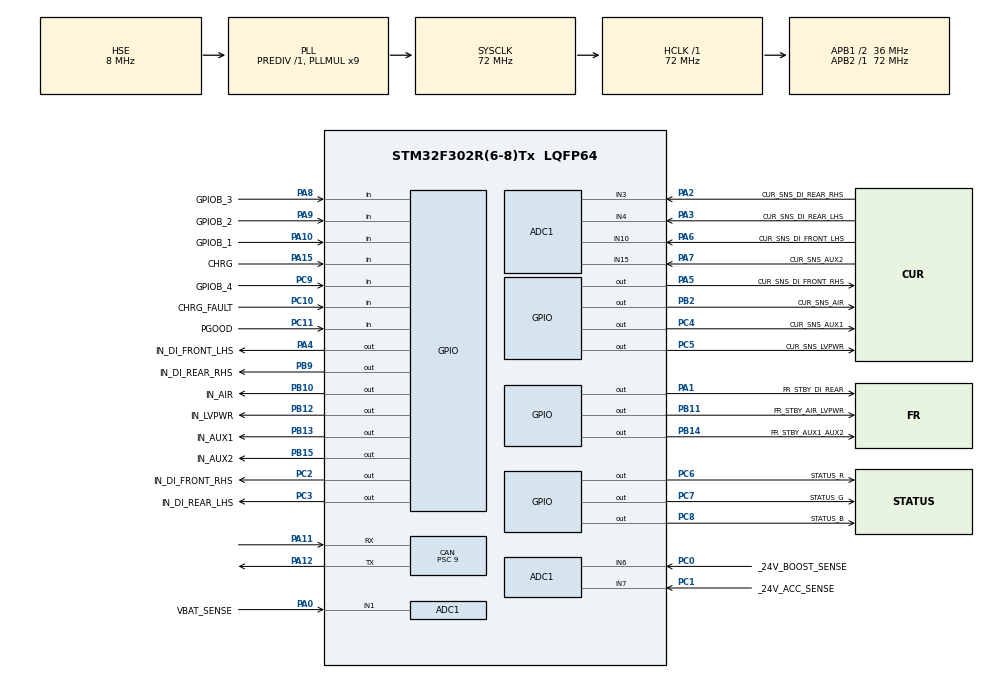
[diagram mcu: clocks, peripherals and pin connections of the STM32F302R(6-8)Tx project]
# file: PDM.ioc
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ADC1.Channel-0\#ChannelRegularConversion=ADC_CHANNEL_3
ADC1.NbrOfConversionFlag=1
ADC1.Offset-0\#ChannelRegularConversion=0
ADC1.OffsetNumber-0\#ChannelRegularConversion=ADC_OFFSET_NONE
ADC1.Rank-0\#ChannelRegularConversion=1
ADC1.SamplingTime-0\#ChannelRegularConversion=ADC_SAMPLETIME_1CYCLE_5
ADC1.SubFamily=STM32F302x8
ADC1.master=1
CAN.ABOM=ENABLE
CAN.BS1=CAN_BS1_6TQ
CAN.CalculateTimeQuantum=250.0
CAN.NART=ENABLE
CAN.Prescaler=9
CAN.RFLM=ENABLE
CAN.SJW=CAN_SJW_4TQ
CAN.TXFP=ENABLE
FREERTOS.INCLUDE_eTaskGetState=0
FREERTOS.INCLUDE_pcTaskGetTaskName=0
FREERTOS.INCLUDE_uxTaskGetStackHighWaterMark=1
FREERTOS.INCLUDE_uxTaskPriorityGet=1
FREERTOS.INCLUDE_vTaskCleanUpResources=0
FREERTOS.INCLUDE_vTaskDelay=1
FREERTOS.INCLUDE_vTaskDelayUntil=1
FREERTOS.INCLUDE_vTaskDelete=1
FREERTOS.INCLUDE_vTaskPrioritySet=1
FREERTOS.INCLUDE_vTaskSuspend=1
FREERTOS.INCLUDE_xEventGroupSetBitFromISR=0
FREERTOS.INCLUDE_xQueueGetMutexHolder=0
FREERTOS.INCLUDE_xSemaphoreGetMutexHolder=0
FREERTOS.INCLUDE_xTaskAbortDelay=0
FREERTOS.INCLUDE_xTaskGetCurrentTaskHandle=0
FREERTOS.INCLUDE_xTaskGetHandle=0
FREERTOS.INCLUDE_xTaskResumeFromISR=1
FREERTOS.MEMORY_ALLOCATION=1
FREERTOS.Tasks01=TaskCanTx,-3,128,RunTaskCanTx,Default,NULL,Static,TaskCanTxBuffer,TaskCanTxControlBlock
FREERTOS.configCHECK_FOR_STACK_OVERFLOW=2
FREERTOS.configENABLE_BACKWARD_COMPATIBILITY=1
FREERTOS.configGENERATE_RUN_TIME_STATS=0
FREERTOS.configIDLE_SHOULD_YIELD=1
FREERTOS.configLIBRARY_LOWEST_INTERRUPT_PRIORITY=15
FREERTOS.configLIBRARY_MAX_SYSCALL_INTERRUPT_PRIORITY=5
FREERTOS.configMAX_CO_ROUTINE_PRIORITIES=2
FREERTOS.configMAX_PRIORITIES=7
FREERTOS.configMAX_TASK_NAME_LEN=16
FREERTOS.configMINIMAL_STACK_SIZE=128
FREERTOS.configQUEUE_REGISTRY_SIZE=8
FREERTOS.configTICK_RATE_HZ=1000
FREERTOS.configUSE_APPLICATION_TASK_TAG=0
FREERTOS.configUSE_COUNTING_SEMAPHORES=0
FREERTOS.configUSE_CO_ROUTINES=0
FREERTOS.configUSE_DAEMON_TASK_STARTUP_HOOK=0
FREERTOS.configUSE_IDLE_HOOK=0
FREERTOS.configUSE_MALLOC_FAILED_HOOK=0
FREERTOS.configUSE_MUTEXES=1
FREERTOS.configUSE_PREEMPTION=1
FREERTOS.configUSE_RECURSIVE_MUTEXES=0
FREERTOS.configUSE_STATS_FORMATTING_FUNCTIONS=0
FREERTOS.configUSE_TASK_NOTIFICATIONS=1
FREERTOS.configUSE_TICKLESS_IDLE=0
FREERTOS.configUSE_TICK_HOOK=1
FREERTOS.configUSE_TIMERS=0
FREERTOS.configUSE_TRACE_FACILITY=1
IWDG.Prescaler=IWDG_PRESCALER_4
IWDG.Reload=LSI_FREQUENCY / IWDG_PRESCALER / IWDG_RESET_FREQUENCY
IWDG.Window=IWDG_WINDOW_DISABLE_VALUE
Mcu.Family=STM32F3
Mcu.Name=STM32F302R(6-8)Tx
Mcu.Package=LQFP64
Mcu.UserConstants=IWDG_WINDOW_DISABLE_VALUE,4095;LSI_FREQUENCY,40000;IWDG_PRESCALER,4;IWDG_RESET_FREQUENCY,5;TASK1HZ_STACK_SIZE,512;TASK100HZ_STACK_SIZE,512;TASK1KHZ_STACK_SIZE,512;TASKCANRX_STACK_SIZE,512;TASKCANTX_STACK_SIZE,512
NVIC.CAN_RX1_IRQn=true\:5\:0\:false\:false\:true\:true\:true\:true
NVIC.PriorityGroup=NVIC_PRIORITYGROUP_4
NVIC.TIM1_UP_TIM16_IRQn=true\:0\:0\:false\:false\:true\:false\:false\:true
NVIC.TimeBase=TIM1_UP_TIM16_IRQn
NVIC.TimeBaseIP=TIM1
NVIC.USB_HP_CAN_TX_IRQn=true\:5\:0\:false\:false\:true\:true\:true\:true
NVIC.USB_LP_CAN_RX0_IRQn=true\:5\:0\:false\:false\:true\:true\:true\:true
PA0.GPIO_Label=VBAT_SENSE
PA0.Mode=IN1-Single-Ended
PA0.Signal=ADC1_IN1
PA1.GPIO_Label=FR_STBY_DI_REAR
PA1.Signal=GPIO_Output
PA10.GPIO_Label=GPIOB_1
PA10.Signal=GPIO_Input
PA11.Mode=Master
PA11.Signal=CAN_RX
PA12.Mode=Master
PA12.Signal=CAN_TX
PA13.Mode=Trace_Asynchronous_SW
PA13.Signal=SYS_JTMS-SWDIO
PA14.Mode=Trace_Asynchronous_SW
PA14.Signal=SYS_JTCK-SWCLK
PA15.GPIO_Label=CHRG
PA15.Signal=GPIO_Input
PA2.GPIO_Label=CUR_SNS_DI_REAR_RHS
PA2.Mode=IN3-Single-Ended
PA2.Signal=ADC1_IN3
PA3.GPIO_Label=CUR_SNS_DI_REAR_LHS
PA3.Mode=IN4-Single-Ended
PA3.Signal=ADC1_IN4
PA4.GPIO_Label=IN_DI_FRONT_LHS
PA4.Signal=GPIO_Output
PA5.GPIO_Label=CUR_SNS_DI_FRONT_RHS
PA5.Signal=GPIO_Output
PA6.GPIO_Label=CUR_SNS_DI_FRONT_LHS
PA6.Signal=ADCx_IN10
PA7.GPIO_Label=CUR_SNS_AUX2
PA7.Mode=IN15-Single-Ended
PA7.Signal=ADC1_IN15
PA8.GPIO_Label=GPIOB_3
PA8.Signal=GPIO_Input
PA9.GPIO_Label=GPIOB_2
PA9.Signal=GPIO_Input
PB10.GPIO_Label=IN_AIR
PB10.Signal=GPIO_Output
PB11.GPIO_Label=FR_STBY_AIR_LVPWR
PB11.Signal=GPIO_Output
PB12.GPIO_Label=IN_LVPWR
PB12.Signal=GPIO_Output
PB13.GPIO_Label=IN_AUX1
PB13.Signal=GPIO_Output
PB14.GPIO_Label=FR_STBY_AUX1_AUX2
PB14.Signal=GPIO_Output
PB15.GPIO_Label=IN_AUX2
PB15.Signal=GPIO_Output
PB2.GPIO_Label=CUR_SNS_AIR
PB2.Signal=GPIO_Output
PB3.Mode=Trace_Asynchronous_SW
PB3.Signal=SYS_JTDO-TRACESWO
PB9.GPIO_Label=IN_DI_REAR_RHS
PB9.Signal=GPIO_Output
PC0.GPIO_Label=_24V_BOOST_SENSE
PC0.Signal=ADCx_IN6
PC1.GPIO_Label=_24V_ACC_SENSE
PC1.Signal=ADCx_IN7
PC10.GPIO_Label=CHRG_FAULT
PC10.Signal=GPIO_Input
PC11.GPIO_Label=PGOOD
PC11.Signal=GPIO_Input
PC2.GPIO_Label=IN_DI_FRONT_RHS
PC2.Signal=GPIO_Output
PC3.GPIO_Label=IN_DI_REAR_LHS
PC3.Signal=GPIO_Output
PC4.GPIO_Label=CUR_SNS_AUX1
PC4.Signal=GPIO_Output
PC5.GPIO_Label=CUR_SNS_LVPWR
PC5.Signal=GPIO_Output
PC6.GPIO_Label=STATUS_R
PC6.Signal=GPIO_Output
PC7.GPIO_Label=STATUS_G
PC7.Signal=GPIO_Output
PC8.GPIO_Label=STATUS_B
PC8.Signal=GPIO_Output
PC9.GPIO_Label=GPIOB_4
PC9.Signal=GPIO_Input
PF0-OSC_IN.Mode=HSE-External-Oscillator
PF0-OSC_IN.Signal=RCC_OSC_IN
PF1-OSC_OUT.Mode=HSE-External-Oscillator
PF1-OSC_OUT.Signal=RCC_OSC_OUT
ProjectManager.HeapSize=0x200
ProjectManager.StackSize=0x400
ProjectManager.TargetToolchain=SW4STM32
RCC.AHBFreq_Value=72000000
RCC.APB1CLKDivider=RCC_HCLK_DIV2
RCC.APB1Freq_Value=36000000
RCC.APB1TimFreq_Value=72000000
RCC.APB2Freq_Value=72000000
RCC.APB2TimFreq_Value=72000000
RCC.CortexFreq_Value=72000000
RCC.FLatency=FLASH_LATENCY_2
RCC.HCLKFreq_Value=72000000
RCC.HSE_VALUE=8000000
RCC.HSI_VALUE=8000000
RCC.LSE_VALUE=32768
RCC.PLLMUL=RCC_PLL_MUL9
RCC.PLLSourceVirtual=RCC_PLLSOURCE_HSE
RCC.SYSCLKFreq_VALUE=72000000
RCC.SYSCLKSourceVirtual=RCC_SYSCLKSOURCE_PLLCLK
RCC.USBFreq_Value=72000000
SH.ADCx_IN10.0=ADC1_IN10,IN10-Single-Ended
SH.ADCx_IN6.0=ADC1_IN6,IN6-Single-Ended
SH.ADCx_IN7.0=ADC1_IN7,IN7-Single-Ended
VP_FREERTOS_VS_CMSIS_V1.Mode=CMSIS_V1
VP_IWDG_VS_IWDG.Mode=IWDG_Activate
VP_SYS_VS_tim1.Mode=TIM1
board=custom

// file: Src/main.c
/* USER CODE BEGIN Header */
/**
 ******************************************************************************
 * @file           : main.c
 * @brief          : Main program body
 ******************************************************************************
 * @attention
 *
 * <h2><center>&copy; Copyright (c) 2020 STMicroelectronics.
 * All rights reserved.</center></h2>
 *
 * This software component is licensed by ST under Ultimate Liberty license
 * SLA0044, the "License"; You may not use this file except in compliance with
 * the License. You may obtain a copy of the License at:
 *                             www.st.com/SLA0044
 *
 ******************************************************************************
 */
/* USER CODE END Header */

#include "main.h"
#include "cmsis_os.h"

/* USER CODE BEGIN Includes */
#include <assert.h>

#include "Io_CanTx.h"
#include "Io_CanRx.h"
#include "Io_SharedSoftwareWatchdog.h"
#include "Io_SharedCan.h"
#include "Io_SharedHardFaultHandler.h"
#include "Io_StackWaterMark.h"
#include "Io_SoftwareWatchdog.h"
#include "Io_VoltageSense.h"
#include "Io_CurrentSense.h"
#include "Io_HeartbeatMonitor.h"
#include "Io_RgbLedSequence.h"
#include "Io_LT3650.h"
#include "Io_LTC3786.h"

#include "App_PdmWorld.h"
#include "App_SharedConstants.h"
#include "App_SharedStateMachine.h"
#include "configs/App_CurrentLimits.h"
#include "configs/App_VoltageLimits.h"
#include "configs/App_HeartbeatMonitorConfig.h"
/* USER CODE END Includes */

ADC_HandleTypeDef hadc1;

CAN_HandleTypeDef hcan;

IWDG_HandleTypeDef hiwdg;

osThreadId          TaskCanTxHandle;
uint32_t            TaskCanTxBuffer[128];
osStaticThreadDef_t TaskCanTxControlBlock;
/* USER CODE BEGIN PV */
struct PdmCanTxInterface *can_tx;
struct InRangeCheck *     vbat_voltage_in_range_check;
struct InRangeCheck *     _24v_aux_voltage_in_range_check;
struct InRangeCheck *     _24v_acc_voltage_in_range_check;
struct InRangeCheck *     aux1_current_in_range_check;
struct InRangeCheck *     aux2_current_in_range_check;
struct InRangeCheck *     left_inverter_current_in_range_check;
struct InRangeCheck *     right_inverter_current_in_range_check;
struct InRangeCheck *     energy_meter_current_in_range_check;
struct InRangeCheck *     can_current_in_range_check;
struct InRangeCheck *     air_shutdown_current_in_range_check;
struct HeartbeatMonitor * heartbeat_monitor;
struct RgbLedSequence *   rgb_led_sequence;
struct LowVoltageBattery *low_voltage_battery;
struct Clock *            clock;
/* USER CODE END PV */

void        SystemClock_Config(void);
static void MX_GPIO_Init(void);
static void MX_ADC1_Init(void);
static void MX_CAN_Init(void);
static void MX_IWDG_Init(void);
void        RunTaskCanTx(void const *argument);

/* USER CODE BEGIN PFP */

static void CanRxQueueOverflowCallBack(size_t overflow_count);
static void CanTxQueueOverflowCallBack(size_t overflow_count);

/* USER CODE END PFP */

/* USER CODE BEGIN 0 */

static void CanRxQueueOverflowCallBack(size_t overflow_count)
{
    App_CanTx_SetPeriodicSignal_RX_OVERFLOW_COUNT(can_tx, overflow_count);
}

static void CanTxQueueOverflowCallBack(size_t overflow_count)
{
    App_CanTx_SetPeriodicSignal_TX_OVERFLOW_COUNT(can_tx, overflow_count);
}

/* USER CODE END 0 */

int main(void)
{

    /* MCU
     * Configuration--------------------------------------------------------*/

    /* Reset of all peripherals, Initializes the Flash interface and the
     * Systick. */
    HAL_Init();

    /* Configure the system clock */
    SystemClock_Config();

    /* Initialize all configured peripherals */
    MX_GPIO_Init();
    MX_ADC1_Init();
    MX_CAN_Init();
    MX_IWDG_Init();
    /* USER CODE BEGIN 2 */
    __HAL_DBGMCU_FREEZE_IWDG();
    Io_SharedHardFaultHandler_Init();

    can_tx = App_CanTx_Create(
        Io_CanTx_EnqueueNonPeriodicMsg_PDM_STARTUP,
        Io_CanTx_EnqueueNonPeriodicMsg_PDM_WATCHDOG_TIMEOUT);

    vbat_voltage_in_range_check = App_InRangeCheck_Create(
        Io_VoltageSense_GetVbatVoltage, VBAT_MIN_VOLTAGE, VBAT_MAX_VOLTAGE);

    _24v_aux_voltage_in_range_check = App_InRangeCheck_Create(
        Io_VoltageSense_Get24vAuxVoltage, _24V_AUX_MIN_VOLTAGE,
        _24V_AUX_MAX_VOLTAGE);

    _24v_acc_voltage_in_range_check = App_InRangeCheck_Create(
        Io_VoltageSense_Get24vAccVoltage, _24V_ACC_MIN_VOLTAGE,
        _24V_ACC_MAX_VOLTAGE);

    aux1_current_in_range_check = App_InRangeCheck_Create(
        Io_CurrentSense_GetAux1Current, AUX1_MIN_CURRENT, AUX1_MAX_CURRENT);

    aux2_current_in_range_check = App_InRangeCheck_Create(
        Io_CurrentSense_GetAux1Current, AUX2_MIN_CURRENT, AUX2_MAX_CURRENT);

    left_inverter_current_in_range_check = App_InRangeCheck_Create(
        Io_CurrentSense_GetLeftInverterCurrent, LEFT_INVERTER_MIN_CURRENT,
        LEFT_INVERTER_MAX_CURRENT);

    right_inverter_current_in_range_check = App_InRangeCheck_Create(
        Io_CurrentSense_GetRightInverterCurrent, RIGHT_INVERTER_MIN_CURRENT,
        RIGHT_INVERTER_MAX_CURRENT);

    energy_meter_current_in_range_check = App_InRangeCheck_Create(
        Io_CurrentSense_GetEnergyMeterCurrent, ENERGY_METER_MIN_CURRENT,
        ENERGY_METER_MAX_CURRENT);

    can_current_in_range_check = App_InRangeCheck_Create(
        Io_CurrentSense_GetCanCurrent, CAN_MIN_CURRENT, CAN_MAX_CURRENT);

    air_shutdown_current_in_range_check = App_InRangeCheck_Create(
        Io_CurrentSense_GetAirShutdownCurrent, AIR_SHUTDOWN_MIN_CURRENT,
        AIR_SHUTDOWN_MAX_CURRENT);

    heartbeat_monitor = App_SharedHeartbeatMonitor_Create(
        Io_HeartbeatMonitor_GetCurrentMs, HEARTBEAT_MONITOR_TIMEOUT_PERIOD_MS,
        HEARTBEAT_MONITOR_BOARDS_TO_CHECK, Io_HeartbeatMonitor_TimeoutCallback);

    rgb_led_sequence = App_SharedRgbLedSequence_Create(
        Io_RgbLedSequence_TurnOnRedLed, Io_RgbLedSequence_TurnOnBlueLed,
        Io_RgbLedSequence_TurnOnGreenLed);

    low_voltage_battery =
        App_LowVoltageBattery_Create(Io_LT3650_HasFault, Io_LTC3786_HasFault);

    clock = App_SharedClock_Create();

    Io_SoftwareWatchdog_Init(can_tx);
    Io_StackWaterMark_Init(can_tx);

    struct CanMsgs_pdm_startup_t payload = { .dummy = 0 };
    App_CanTx_SendNonPeriodicMsg_PDM_STARTUP(can_tx, &payload);
    /* USER CODE END 2 */

    /* Create the thread(s) */
    /* definition and creation of TaskCanTx */
    osThreadStaticDef(
        TaskCanTx, RunTaskCanTx, osPriorityIdle, 0, 128, TaskCanTxBuffer,
        &TaskCanTxControlBlock);
    TaskCanTxHandle = osThreadCreate(osThread(TaskCanTx), NULL);

    /* USER CODE BEGIN RTOS_THREADS */
    /* add threads, ... */
    // According to Percpio documentation, vTraceEnable() should be the last
    // function call before the scheduler starts.
#if (configUSE_TRACE_FACILITY == 1)
    vTraceEnable(TRC_INIT);
#endif
    /* USER CODE END RTOS_THREADS */

    /* Start scheduler */
    osKernelStart();

    /* We should never get here as control is now taken by the scheduler */

    /* Infinite loop */
    while (1)
    {

    }
}

void SystemClock_Config(void)
{
    RCC_OscInitTypeDef       RCC_OscInitStruct = { 0 };
    RCC_ClkInitTypeDef       RCC_ClkInitStruct = { 0 };
    RCC_PeriphCLKInitTypeDef PeriphClkInit     = { 0 };

    /** Initializes the CPU, AHB and APB busses clocks
     */
    RCC_OscInitStruct.OscillatorType =
        RCC_OSCILLATORTYPE_LSI | RCC_OSCILLATORTYPE_HSE;
    RCC_OscInitStruct.HSEState       = RCC_HSE_ON;
    RCC_OscInitStruct.HSEPredivValue = RCC_HSE_PREDIV_DIV1;
    RCC_OscInitStruct.HSIState       = RCC_HSI_ON;
    RCC_OscInitStruct.LSIState       = RCC_LSI_ON;
    RCC_OscInitStruct.PLL.PLLState   = RCC_PLL_ON;
    RCC_OscInitStruct.PLL.PLLSource  = RCC_PLLSOURCE_HSE;
    RCC_OscInitStruct.PLL.PLLMUL     = RCC_PLL_MUL9;
    if (HAL_RCC_OscConfig(&RCC_OscInitStruct) != HAL_OK)
    {
        Error_Handler();
    }
    /** Initializes the CPU, AHB and APB busses clocks
     */
    RCC_ClkInitStruct.ClockType = RCC_CLOCKTYPE_HCLK | RCC_CLOCKTYPE_SYSCLK |
                                  RCC_CLOCKTYPE_PCLK1 | RCC_CLOCKTYPE_PCLK2;
    RCC_ClkInitStruct.SYSCLKSource   = RCC_SYSCLKSOURCE_PLLCLK;
    RCC_ClkInitStruct.AHBCLKDivider  = RCC_SYSCLK_DIV1;
    RCC_ClkInitStruct.APB1CLKDivider = RCC_HCLK_DIV2;
    RCC_ClkInitStruct.APB2CLKDivider = RCC_HCLK_DIV1;

    if (HAL_RCC_ClockConfig(&RCC_ClkInitStruct, FLASH_LATENCY_2) != HAL_OK)
    {
        Error_Handler();
    }
    PeriphClkInit.PeriphClockSelection = RCC_PERIPHCLK_ADC1;
    PeriphClkInit.Adc1ClockSelection   = RCC_ADC1PLLCLK_DIV1;

    if (HAL_RCCEx_PeriphCLKConfig(&PeriphClkInit) != HAL_OK)
    {
        Error_Handler();
    }
}

static void MX_ADC1_Init(void)
{

    ADC_ChannelConfTypeDef sConfig = { 0 };

    /** Common config
     */
    hadc1.Instance                   = ADC1;
    hadc1.Init.ClockPrescaler        = ADC_CLOCK_ASYNC_DIV1;
    hadc1.Init.Resolution            = ADC_RESOLUTION_12B;
    hadc1.Init.ScanConvMode          = ADC_SCAN_DISABLE;
    hadc1.Init.ContinuousConvMode    = DISABLE;
    hadc1.Init.DiscontinuousConvMode = DISABLE;
    hadc1.Init.ExternalTrigConvEdge  = ADC_EXTERNALTRIGCONVEDGE_NONE;
    hadc1.Init.ExternalTrigConv      = ADC_SOFTWARE_START;
    hadc1.Init.DataAlign             = ADC_DATAALIGN_RIGHT;
    hadc1.Init.NbrOfConversion       = 1;
    hadc1.Init.DMAContinuousRequests = DISABLE;
    hadc1.Init.EOCSelection          = ADC_EOC_SINGLE_CONV;
    hadc1.Init.LowPowerAutoWait      = DISABLE;
    hadc1.Init.Overrun               = ADC_OVR_DATA_OVERWRITTEN;
    if (HAL_ADC_Init(&hadc1) != HAL_OK)
    {
        Error_Handler();
    }
    /** Configure Regular Channel
     */
    sConfig.Channel      = ADC_CHANNEL_3;
    sConfig.Rank         = ADC_REGULAR_RANK_1;
    sConfig.SingleDiff   = ADC_SINGLE_ENDED;
    sConfig.SamplingTime = ADC_SAMPLETIME_1CYCLE_5;
    sConfig.OffsetNumber = ADC_OFFSET_NONE;
    sConfig.Offset       = 0;
    if (HAL_ADC_ConfigChannel(&hadc1, &sConfig) != HAL_OK)
    {
        Error_Handler();
    }
}

static void MX_CAN_Init(void)
{

    hcan.Instance                  = CAN;
    hcan.Init.Prescaler            = 9;
    hcan.Init.Mode                 = CAN_MODE_NORMAL;
    hcan.Init.SyncJumpWidth        = CAN_SJW_4TQ;
    hcan.Init.TimeSeg1             = CAN_BS1_6TQ;
    hcan.Init.TimeSeg2             = CAN_BS2_1TQ;
    hcan.Init.TimeTriggeredMode    = DISABLE;
    hcan.Init.AutoBusOff           = ENABLE;
    hcan.Init.AutoWakeUp           = DISABLE;
    hcan.Init.AutoRetransmission   = ENABLE;
    hcan.Init.ReceiveFifoLocked    = ENABLE;
    hcan.Init.TransmitFifoPriority = ENABLE;
    if (HAL_CAN_Init(&hcan) != HAL_OK)
    {
        Error_Handler();
    }
    /* USER CODE BEGIN CAN_Init 2 */
    Io_SharedCan_Init(
        &hcan, CanTxQueueOverflowCallBack, CanRxQueueOverflowCallBack);
    /* USER CODE END CAN_Init 2 */
}

static void MX_IWDG_Init(void)
{

    hiwdg.Instance       = IWDG;
    hiwdg.Init.Prescaler = IWDG_PRESCALER_4;
    hiwdg.Init.Window    = IWDG_WINDOW_DISABLE_VALUE;
    hiwdg.Init.Reload = LSI_FREQUENCY / IWDG_PRESCALER / IWDG_RESET_FREQUENCY;
    if (HAL_IWDG_Init(&hiwdg) != HAL_OK)
    {
        Error_Handler();
    }
    /* USER CODE BEGIN IWDG_Init 2 */
    Io_SharedSoftwareWatchdog_Init(
        Io_HardwareWatchdog_Refresh, Io_SoftwareWatchdog_TimeoutCallback);
    /* USER CODE END IWDG_Init 2 */
}

static void MX_GPIO_Init(void)
{
    GPIO_InitTypeDef GPIO_InitStruct = { 0 };

    /* GPIO Ports Clock Enable */
    __HAL_RCC_GPIOC_CLK_ENABLE();
    __HAL_RCC_GPIOF_CLK_ENABLE();
    __HAL_RCC_GPIOA_CLK_ENABLE();
    __HAL_RCC_GPIOB_CLK_ENABLE();
    __HAL_RCC_GPIOD_CLK_ENABLE();

    /*Configure GPIO pin Output Level */
    HAL_GPIO_WritePin(
        GPIOC,
        IN_DI_FRONT_RHS_Pin | IN_DI_REAR_LHS_Pin | CUR_SNS_AUX1_Pin |
            CUR_SNS_LVPWR_Pin | STATUS_R_Pin | STATUS_G_Pin | STATUS_B_Pin,
        GPIO_PIN_RESET);

    /*Configure GPIO pin Output Level */
    HAL_GPIO_WritePin(
        GPIOA,
        FR_STBY_DI_REAR_Pin | IN_DI_FRONT_LHS_Pin | CUR_SNS_DI_FRONT_RHS_Pin,
        GPIO_PIN_RESET);

    /*Configure GPIO pin Output Level */
    HAL_GPIO_WritePin(
        GPIOB,
        CUR_SNS_AIR_Pin | IN_AIR_Pin | FR_STBY_AIR_LVPWR_Pin | IN_LVPWR_Pin |
            IN_AUX1_Pin | FR_STBY_AUX1_AUX2_Pin | IN_AUX2_Pin |
            IN_DI_REAR_RHS_Pin,
        GPIO_PIN_RESET);

    /*Configure GPIO pins : PC13 PC14 PC15 PC12 */
    GPIO_InitStruct.Pin = GPIO_PIN_13 | GPIO_PIN_14 | GPIO_PIN_15 | GPIO_PIN_12;
    GPIO_InitStruct.Mode = GPIO_MODE_ANALOG;
    GPIO_InitStruct.Pull = GPIO_NOPULL;
    HAL_GPIO_Init(GPIOC, &GPIO_InitStruct);

    /*Configure GPIO pins : IN_DI_FRONT_RHS_Pin IN_DI_REAR_LHS_Pin
       CUR_SNS_AUX1_Pin CUR_SNS_LVPWR_Pin
                             STATUS_R_Pin STATUS_G_Pin STATUS_B_Pin */
    GPIO_InitStruct.Pin = IN_DI_FRONT_RHS_Pin | IN_DI_REAR_LHS_Pin |
                          CUR_SNS_AUX1_Pin | CUR_SNS_LVPWR_Pin | STATUS_R_Pin |
                          STATUS_G_Pin | STATUS_B_Pin;
    GPIO_InitStruct.Mode  = GPIO_MODE_OUTPUT_PP;
    GPIO_InitStruct.Pull  = GPIO_NOPULL;
    GPIO_InitStruct.Speed = GPIO_SPEED_FREQ_LOW;
    HAL_GPIO_Init(GPIOC, &GPIO_InitStruct);

    /*Configure GPIO pins : FR_STBY_DI_REAR_Pin IN_DI_FRONT_LHS_Pin
     * CUR_SNS_DI_FRONT_RHS_Pin */
    GPIO_InitStruct.Pin =
        FR_STBY_DI_REAR_Pin | IN_DI_FRONT_LHS_Pin | CUR_SNS_DI_FRONT_RHS_Pin;
    GPIO_InitStruct.Mode  = GPIO_MODE_OUTPUT_PP;
    GPIO_InitStruct.Pull  = GPIO_NOPULL;
    GPIO_InitStruct.Speed = GPIO_SPEED_FREQ_LOW;
    HAL_GPIO_Init(GPIOA, &GPIO_InitStruct);

    /*Configure GPIO pins : PB0 PB1 PB4 PB5
                             PB6 PB7 PB8 */
    GPIO_InitStruct.Pin = GPIO_PIN_0 | GPIO_PIN_1 | GPIO_PIN_4 | GPIO_PIN_5 |
                          GPIO_PIN_6 | GPIO_PIN_7 | GPIO_PIN_8;
    GPIO_InitStruct.Mode = GPIO_MODE_ANALOG;
    GPIO_InitStruct.Pull = GPIO_NOPULL;
    HAL_GPIO_Init(GPIOB, &GPIO_InitStruct);

    /*Configure GPIO pins : CUR_SNS_AIR_Pin IN_AIR_Pin FR_STBY_AIR_LVPWR_Pin
       IN_LVPWR_Pin IN_AUX1_Pin FR_STBY_AUX1_AUX2_Pin IN_AUX2_Pin
       IN_DI_REAR_RHS_Pin */
    GPIO_InitStruct.Pin = CUR_SNS_AIR_Pin | IN_AIR_Pin | FR_STBY_AIR_LVPWR_Pin |
                          IN_LVPWR_Pin | IN_AUX1_Pin | FR_STBY_AUX1_AUX2_Pin |
                          IN_AUX2_Pin | IN_DI_REAR_RHS_Pin;
    GPIO_InitStruct.Mode  = GPIO_MODE_OUTPUT_PP;
    GPIO_InitStruct.Pull  = GPIO_NOPULL;
    GPIO_InitStruct.Speed = GPIO_SPEED_FREQ_LOW;
    HAL_GPIO_Init(GPIOB, &GPIO_InitStruct);

    /*Configure GPIO pins : GPIOB_4_Pin CHRG_FAULT_Pin PGOOD_Pin */
    GPIO_InitStruct.Pin  = GPIOB_4_Pin | CHRG_FAULT_Pin | PGOOD_Pin;
    GPIO_InitStruct.Mode = GPIO_MODE_INPUT;
    GPIO_InitStruct.Pull = GPIO_NOPULL;
    HAL_GPIO_Init(GPIOC, &GPIO_InitStruct);

    /*Configure GPIO pins : GPIOB_3_Pin GPIOB_2_Pin GPIOB_1_Pin CHRG_Pin */
    GPIO_InitStruct.Pin  = GPIOB_3_Pin | GPIOB_2_Pin | GPIOB_1_Pin | CHRG_Pin;
    GPIO_InitStruct.Mode = GPIO_MODE_INPUT;
    GPIO_InitStruct.Pull = GPIO_NOPULL;
    HAL_GPIO_Init(GPIOA, &GPIO_InitStruct);

    /*Configure GPIO pin : PD2 */
    GPIO_InitStruct.Pin  = GPIO_PIN_2;
    GPIO_InitStruct.Mode = GPIO_MODE_ANALOG;
    GPIO_InitStruct.Pull = GPIO_NOPULL;
    HAL_GPIO_Init(GPIOD, &GPIO_InitStruct);
}

void RunTaskCanTx(void const *argument)
{
    /* USER CODE BEGIN 5 */
    UNUSED(argument);

    for (;;)
    {
        Io_SharedCan_TransmitEnqueuedCanTxMessagesFromTask();
    }
    /* USER CODE END 5 */
}

void HAL_TIM_PeriodElapsedCallback(TIM_HandleTypeDef *htim)
{
    if (htim->Instance == TIM1)
    {
        HAL_IncTick();
    }
}

void Error_Handler(void)
{
    /* USER CODE BEGIN Error_Handler_Debug */
    __assert_func(file, line, "Error_Handler", "Error_Handler");
    /* USER CODE END Error_Handler_Debug */
}

#ifdef USE_FULL_ASSERT
/**
 * @brief  Reports the name of the source file and the source line number
 *         where the assert_param error has occurred.
 * @param  file: pointer to the source file name
 * @param  line: assert_param error line source number
 * @retval None
 */
void assert_failed(char *file, uint32_t line)
{
    /* USER CODE BEGIN 6 */
    __assert_func(file, line, "assert_failed", "assert_failed");
    /* USER CODE END 6 */
}
#endif /* USE_FULL_ASSERT */

/************************ (C) COPYRIGHT STMicroelectronics *****END OF FILE****/
